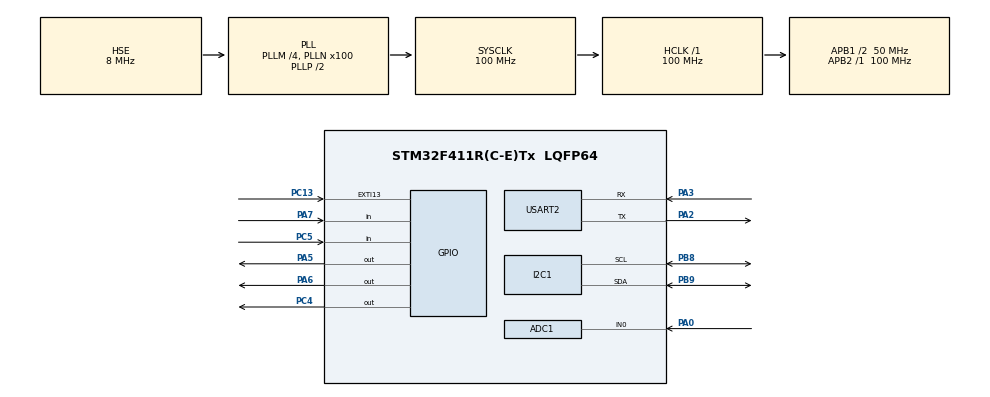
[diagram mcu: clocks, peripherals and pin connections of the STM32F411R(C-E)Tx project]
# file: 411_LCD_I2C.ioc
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ADC1.Channel-0\#ChannelRegularConversion=ADC_CHANNEL_0
ADC1.ContinuousConvMode=ENABLE
ADC1.NbrOfConversionFlag=1
ADC1.Rank-0\#ChannelRegularConversion=1
ADC1.Resolution=ADC_RESOLUTION_10B
ADC1.SamplingTime-0\#ChannelRegularConversion=ADC_SAMPLETIME_3CYCLES
ADC1.ScanConvMode=ENABLE
ADC1.master=1
Mcu.Family=STM32F4
Mcu.Name=STM32F411R(C-E)Tx
Mcu.Package=LQFP64
NVIC.EXTI15_10_IRQn=true\:1\:1\:true\:false\:true\:true\:true
NVIC.PriorityGroup=NVIC_PRIORITYGROUP_1
NVIC.RTC_Alarm_IRQn=true\:0\:0\:false\:false\:true\:true\:true
PA0-WKUP.Signal=ADCx_IN0
PA2.Mode=Asynchronous
PA2.Signal=USART2_TX
PA3.Mode=Asynchronous
PA3.Signal=USART2_RX
PA5.GPIO_Speed=GPIO_SPEED_FREQ_HIGH
PA5.Signal=GPIO_Output
PA6.Signal=GPIO_Output
PA7.Signal=GPIO_Input
PB8.Mode=I2C
PB8.Signal=I2C1_SCL
PB9.Mode=I2C
PB9.Signal=I2C1_SDA
PC13-ANTI_TAMP.GPIO_ModeDefaultEXTI=GPIO_MODE_IT_FALLING
PC13-ANTI_TAMP.Signal=GPXTI13
PC14-OSC32_IN.Mode=LSE-External-Oscillator
PC14-OSC32_IN.Signal=RCC_OSC32_IN
PC15-OSC32_OUT.Mode=LSE-External-Oscillator
PC15-OSC32_OUT.Signal=RCC_OSC32_OUT
PC4.Signal=GPIO_Output
PC5.GPIO_PuPd=GPIO_PULLUP
PC5.Signal=GPIO_Input
PH0\ -\ OSC_IN.Mode=HSE-External-Oscillator
PH0\ -\ OSC_IN.Signal=RCC_OSC_IN
PH1\ -\ OSC_OUT.Mode=HSE-External-Oscillator
PH1\ -\ OSC_OUT.Signal=RCC_OSC_OUT
ProjectManager.HeapSize=0x200
ProjectManager.StackSize=0x400
ProjectManager.TargetToolchain=MDK-ARM V5
RCC.48MHZClocksFreq_Value=50000000
RCC.AHBFreq_Value=100000000
RCC.APB1CLKDivider=RCC_HCLK_DIV2
RCC.APB1Freq_Value=50000000
RCC.APB1TimFreq_Value=100000000
RCC.APB2Freq_Value=100000000
RCC.APB2TimFreq_Value=100000000
RCC.CortexFreq_Value=100000000
RCC.HCLKFreq_Value=100000000
RCC.HSE_VALUE=8000000
RCC.HSI_VALUE=16000000
RCC.PLLM=4
RCC.PLLN=100
RCC.PLLSourceVirtual=RCC_PLLSOURCE_HSE
RCC.RCC_RTC_Clock_Source=RCC_RTCCLKSOURCE_LSE
RCC.RCC_RTC_Clock_SourceVirtual=RCC_RTCCLKSOURCE_LSE
RCC.SYSCLKFreq_VALUE=100000000
RCC.SYSCLKSource=RCC_SYSCLKSOURCE_PLLCLK
RCC.VCOOutputFreq_Value=200000000
RTC.Alarm=RTC_ALARM_A
RTC.AlarmDateWeekDay=12
RTC.Date=25
RTC.Hours=10
RTC.Hours_A=10
RTC.Minutes=20
RTC.Minutes_A=27
RTC.Month=RTC_MONTH_MARCH
RTC.Seconds=30
RTC.WeekDay=RTC_WEEKDAY_WEDNESDAY
SH.ADCx_IN0.0=ADC1_IN0,IN0
USART2.VirtualMode=VM_ASYNC
VP_RTC_VS_RTC_Activate.Mode=RTC_Enabled
VP_RTC_VS_RTC_Alarm_A_Intern.Mode=Alarm A
VP_RTC_VS_RTC_Calendar.Mode=RTC_Calendar
board=411_LCD_I2C

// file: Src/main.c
/* USER CODE BEGIN Header */
/**
  ******************************************************************************
  * @file           : main.c
  * @brief          : Main program body
  ******************************************************************************
  ** This notice applies to any and all portions of this file
  * that are not between comment pairs USER CODE BEGIN and
  * USER CODE END. Other portions of this file, whether
  * inserted by the user or by software development tools
  * are owned by their respective copyright owners.
  *
  * COPYRIGHT(c) 2019 STMicroelectronics
  *
  * Redistribution and use in source and binary forms, with or without modification,
  * are permitted provided that the following conditions are met:
  *   1. Redistributions of source code must retain the above copyright notice,
  *      this list of conditions and the following disclaimer.
  *   2. Redistributions in binary form must reproduce the above copyright notice,
  *      this list of conditions and the following disclaimer in the documentation
  *      and/or other materials provided with the distribution.
  *   3. Neither the name of STMicroelectronics nor the names of its contributors
  *      may be used to endorse or promote products derived from this software
  *      without specific prior written permission.
  *
  * THIS SOFTWARE IS PROVIDED BY THE COPYRIGHT HOLDERS AND CONTRIBUTORS "AS IS"
  * AND ANY EXPRESS OR IMPLIED WARRANTIES, INCLUDING, BUT NOT LIMITED TO, THE
  * IMPLIED WARRANTIES OF MERCHANTABILITY AND FITNESS FOR A PARTICULAR PURPOSE ARE
  * DISCLAIMED. IN NO EVENT SHALL THE COPYRIGHT HOLDER OR CONTRIBUTORS BE LIABLE
  * FOR ANY DIRECT, INDIRECT, INCIDENTAL, SPECIAL, EXEMPLARY, OR CONSEQUENTIAL
  * DAMAGES (INCLUDING, BUT NOT LIMITED TO, PROCUREMENT OF SUBSTITUTE GOODS OR
  * SERVICES; LOSS OF USE, DATA, OR PROFITS; OR BUSINESS INTERRUPTION) HOWEVER
  * CAUSED AND ON ANY THEORY OF LIABILITY, WHETHER IN CONTRACT, STRICT LIABILITY,
  * OR TORT (INCLUDING NEGLIGENCE OR OTHERWISE) ARISING IN ANY WAY OUT OF THE USE
  * OF THIS SOFTWARE, EVEN IF ADVISED OF THE POSSIBILITY OF SUCH DAMAGE.
  *
  ******************************************************************************
  */
/* USER CODE END Header */

#include "main.h"
#include "adc.h"
#include "i2c.h"
#include "rtc.h"
#include "usart.h"
#include "gpio.h"

/* USER CODE BEGIN Includes */
#include "i2c-lcd.h"
#include <string.h>
#include <stdio.h>
#include "stm32f4xx_it.h"
#include <stdbool.h>
/* USER CODE END Includes */

/* USER CODE BEGIN PD */
uint16_t adc1;
char msg[10];
long x,in_min,in_max,out_min,out_max;
bool check = false;
char strCheck[] = "off pump" ;
int i = 30;
int count = 2;
/* USER CODE END PD */

/* USER CODE BEGIN PV */
/* Private variables ---------------------------------------------------------*/
char time[10];
char date[10];
/* USER CODE END PV */

void SystemClock_Config(void);
/* USER CODE BEGIN PFP */
/* Private function prototypes -----------------------------------------------*/
void I2C1_ADDR_Chk(void);
/* USER CODE END PFP */

/* USER CODE BEGIN 0 */
void interrup(void){

	HAL_NVIC_SetPriority(EXTI15_10_IRQn, 1, 1);
  HAL_NVIC_EnableIRQ(EXTI15_10_IRQn);

}
void open_pump(void){

					HAL_GPIO_WritePin (GPIOA, GPIO_PIN_6, 0); // turn on the Motor Relay = 0 ON
					//check = true;
					lcd_send_cmd(0x80+8);
					lcd_send_string("open pump");
					HAL_Delay(5000);
}
void set_alarm (void)
{
	RTC_AlarmTypeDef sAlarm={0};

  sAlarm.AlarmTime.Hours = 0x10;
  sAlarm.AlarmTime.Minutes = 0x21;
  sAlarm.AlarmTime.Seconds = 0x0;
  sAlarm.AlarmTime.SubSeconds = 0x0;
  sAlarm.AlarmTime.DayLightSaving = RTC_DAYLIGHTSAVING_NONE;
  sAlarm.AlarmTime.StoreOperation = RTC_STOREOPERATION_RESET;
  sAlarm.AlarmMask = RTC_ALARMMASK_NONE;
  sAlarm.AlarmSubSecondMask = RTC_ALARMSUBSECONDMASK_ALL;
  sAlarm.AlarmDateWeekDaySel = RTC_ALARMDATEWEEKDAYSEL_DATE;
  sAlarm.AlarmDateWeekDay = 0x12;
  sAlarm.Alarm = RTC_ALARM_A;
  if (HAL_RTC_SetAlarm_IT(&hrtc, &sAlarm, RTC_FORMAT_BCD) != HAL_OK)
  {
    Error_Handler();
  }
}
void set_time (void)
{
  RTC_TimeTypeDef sTime={0};
  RTC_DateTypeDef sDate={0};

/*----------------SET TIME----------------------*/
  sTime.Hours = 0x16;
  sTime.Minutes = 0x59;
  sTime.Seconds = 0x30;
  sTime.DayLightSaving = RTC_DAYLIGHTSAVING_NONE;
  sTime.StoreOperation = RTC_STOREOPERATION_RESET;

  if (HAL_RTC_SetTime(&hrtc, &sTime, RTC_FORMAT_BCD) != HAL_OK)
  {
    Error_Handler();
  }
/*-----------------SET DATE----------------------*/
  sDate.WeekDay = RTC_WEEKDAY_WEDNESDAY;
  sDate.Month = RTC_MONTH_MARCH;
  sDate.Date = 0x2;
  sDate.Year = 0x20;

  if (HAL_RTC_SetDate(&hrtc, &sDate, RTC_FORMAT_BCD) != HAL_OK)
  {
    Error_Handler();
  }

  HAL_RTCEx_BKUPWrite(&hrtc, RTC_BKP_DR1, 0x32F2); // backup register
}
void get_time(void)
{
 RTC_DateTypeDef gDate;
 RTC_TimeTypeDef gTime;
 RTC_TimeTypeDef sTime={0};
/* Get the RTC current Time */
 HAL_RTC_GetTime(&hrtc, &gTime, RTC_FORMAT_BIN);

/*----------------------------SET TIME--------------------------------------*/
if(gTime.Hours ==8 && gTime.Minutes==00 && gTime.Seconds==01){open_pump();}
if(gTime.Hours ==17 && gTime.Minutes==00 && gTime.Seconds==01){open_pump();}

/* Get the RTC current Date */
	HAL_RTC_GetDate(&hrtc, &gDate, RTC_FORMAT_BIN);
/* Display time Format: hh:mm:ss */
 sprintf((char*)time,"%02d:%02d:%02d",gTime.Hours, gTime.Minutes, gTime.Seconds);
/* Display date Format: dd-mm-yy */
 sprintf((char*)date,"%02d-%02d-%2d",gDate.Date, gDate.Month, 2000 + gDate.Year);

}

void display_time (void)
{
 lcd_send_cmd (0x80); // send cursor to 0,0
 lcd_send_string (time);
 lcd_send_cmd (0xc0); // send cursor to 1,0
 lcd_send_string (date);

}
void HAL_RTC_AlarmAEventCallback(RTC_HandleTypeDef *hrtc)
{
  HAL_GPIO_WritePin (GPIOA, GPIO_PIN_5, 1); // turn on the LED
}
long map(long x, long in_min, long in_max, long out_min, long out_max) {
  return ((x - in_min) * (out_max - out_min) / (in_max - in_min) + out_min)+20;
}

void EXTI15_10_IRQHandler(void)
{
  /* USER CODE BEGIN EXTI15_10_IRQn 0 */
	if(HAL_GPIO_ReadPin(GPIOC,GPIO_PIN_13))open_pump();
  /* USER CODE END EXTI15_10_IRQn 0 */
  HAL_GPIO_EXTI_IRQHandler(GPIO_PIN_13);

}

/* USER CODE END 0 */

int main(void)
{

  /* MCU Configuration--------------------------------------------------------*/

  /* Reset of all peripherals, Initializes the Flash interface and the Systick. */
  HAL_Init();

  /* Configure the system clock */
  SystemClock_Config();

  /* Initialize all configured peripherals */
  MX_GPIO_Init();
  MX_I2C1_Init();
  MX_USART2_UART_Init();
  MX_ADC1_Init();
  MX_RTC_Init();
  /* USER CODE BEGIN 2 */
	I2C1_ADDR_Chk();
	lcd_init ();
	set_alarm ();

	if(HAL_RTCEx_BKUPRead(&hrtc, RTC_BKP_DR1) != 0x32F2){ set_time(); }

//			lcd_send_cmd (0x01);
			lcd_send_cmd(0x80+5);
			lcd_send_string("Hello");
			HAL_Delay(3000);

  /* USER CODE END 2 */

  /* Infinite loop */
  while (1)
  {

    /* USER CODE BEGIN 3 */
/*-------------------------CHECK MODE---------------------*/
		if(HAL_GPIO_ReadPin(GPIOC,GPIO_PIN_5)== 0){count++;}
/*-------------------------READ ADC-----------------------*/
		HAL_ADC_Start(&hadc1);
		adc1 = HAL_ADC_GetValue(&hadc1); //read Soil Moisture
		long percent = map(adc1,1024,0,0,100);
/*------------------------A lot of water plants-------------------*/
		if(count%2==0){

				lcd_send_cmd (0xc0+11);
				lcd_send_string ("H");
				if(percent<40 && check == false && percent>30){

						HAL_GPIO_WritePin (GPIOA, GPIO_PIN_6, 0); // turn on the Motor Relay = 0 ON
						lcd_send_cmd(0x80+8);
						check = true;
						lcd_send_string("open pump");

				}else{

						HAL_GPIO_WritePin (GPIOA, GPIO_PIN_6, 1); // turn on the Motor Relay = 1 OFF
						lcd_send_cmd(0x80+8);
						lcd_send_string("oof pump");
			}
/*------------------------Less water plants-------------------*/
		}else if(count%2!=0){

				lcd_send_cmd (0xc0+11); // send cursor to 0,0
				lcd_send_string ("L");

				if(percent<30 && check == false){

						HAL_GPIO_WritePin (GPIOA, GPIO_PIN_6, 0); // turn on the Motor Relay = 0 ON
						lcd_send_cmd(0x80+8);
						check = true;
						lcd_send_string("open pump");

				}else{

						HAL_GPIO_WritePin (GPIOA, GPIO_PIN_6, 1); // turn on the Motor Relay = 1 OFF
						lcd_send_cmd(0x80+8);
						lcd_send_string("oof pump");
			}
		}

			//lcd_send_cmd (0x01);
			lcd_send_cmd(0xc0+13);
			lcd_send_string(msg);
			check = false;
			lcd_send_cmd(0xc0+15);
			lcd_send_string("%");

		sprintf(msg, "%hu \n\r", percent);
    HAL_UART_Transmit(&huart2, (uint8_t*)msg, strlen(msg), HAL_MAX_DELAY);

/*-----------------Time-------------*/

		//set_time();     //Enabled set time and Date
 		get_time();
		display_time();
		interrup();
		HAL_Delay(500);

  }
  /* USER CODE END 3 */
}

void SystemClock_Config(void)
{
  RCC_OscInitTypeDef RCC_OscInitStruct = {0};
  RCC_ClkInitTypeDef RCC_ClkInitStruct = {0};
  RCC_PeriphCLKInitTypeDef PeriphClkInitStruct = {0};

  /**Configure the main internal regulator output voltage
  */
  __HAL_RCC_PWR_CLK_ENABLE();
  __HAL_PWR_VOLTAGESCALING_CONFIG(PWR_REGULATOR_VOLTAGE_SCALE1);
  /**Initializes the CPU, AHB and APB busses clocks
  */
  RCC_OscInitStruct.OscillatorType = RCC_OSCILLATORTYPE_HSE|RCC_OSCILLATORTYPE_LSE;
  RCC_OscInitStruct.HSEState = RCC_HSE_ON;
  RCC_OscInitStruct.LSEState = RCC_LSE_ON;
  RCC_OscInitStruct.PLL.PLLState = RCC_PLL_ON;
  RCC_OscInitStruct.PLL.PLLSource = RCC_PLLSOURCE_HSE;
  RCC_OscInitStruct.PLL.PLLM = 4;
  RCC_OscInitStruct.PLL.PLLN = 100;
  RCC_OscInitStruct.PLL.PLLP = RCC_PLLP_DIV2;
  RCC_OscInitStruct.PLL.PLLQ = 4;
  if (HAL_RCC_OscConfig(&RCC_OscInitStruct) != HAL_OK)
  {
    Error_Handler();
  }
  /**Initializes the CPU, AHB and APB busses clocks
  */
  RCC_ClkInitStruct.ClockType = RCC_CLOCKTYPE_HCLK|RCC_CLOCKTYPE_SYSCLK
                              |RCC_CLOCKTYPE_PCLK1|RCC_CLOCKTYPE_PCLK2;
  RCC_ClkInitStruct.SYSCLKSource = RCC_SYSCLKSOURCE_PLLCLK;
  RCC_ClkInitStruct.AHBCLKDivider = RCC_SYSCLK_DIV1;
  RCC_ClkInitStruct.APB1CLKDivider = RCC_HCLK_DIV2;
  RCC_ClkInitStruct.APB2CLKDivider = RCC_HCLK_DIV1;

  if (HAL_RCC_ClockConfig(&RCC_ClkInitStruct, FLASH_LATENCY_3) != HAL_OK)
  {
    Error_Handler();
  }
  PeriphClkInitStruct.PeriphClockSelection = RCC_PERIPHCLK_RTC;
  PeriphClkInitStruct.RTCClockSelection = RCC_RTCCLKSOURCE_LSE;
  if (HAL_RCCEx_PeriphCLKConfig(&PeriphClkInitStruct) != HAL_OK)
  {
    Error_Handler();
  }
}

/* USER CODE BEGIN 4 */
/**
  * @brief Check I2C1 slave addresses. Show result via UART2.
  * @param None
  * @retval None
  */
void I2C1_ADDR_Chk(void)
{
	uint8_t testAddr;
	uint8_t testData;
	char str[30];

	for (testAddr=0; testAddr<=127; testAddr++)
	{
		if ( HAL_OK == HAL_I2C_Master_Transmit(&hi2c1, testAddr<<1, &testData, 1, 200))
		{
			sprintf(str, "=====> Address 0x%02X is found. <=====\r\n", testAddr);
			HAL_UART_Transmit(&huart2, (uint8_t *) str, strlen(str), 300);

		}	else {
			sprintf(str, "Address 0x%02X is not found.\r\n", testAddr);
			HAL_UART_Transmit(&huart2, (uint8_t *) str, strlen(str), 300);

		}

		//if slave device is quite slow use HAL_Delay
		//HAL_Delay(200);

	}

}

/* USER CODE END 4 */

void Error_Handler(void)
{
  while(1)
  {
  }
}

/************************ (C) COPYRIGHT STMicroelectronics *****END OF FILE****/
